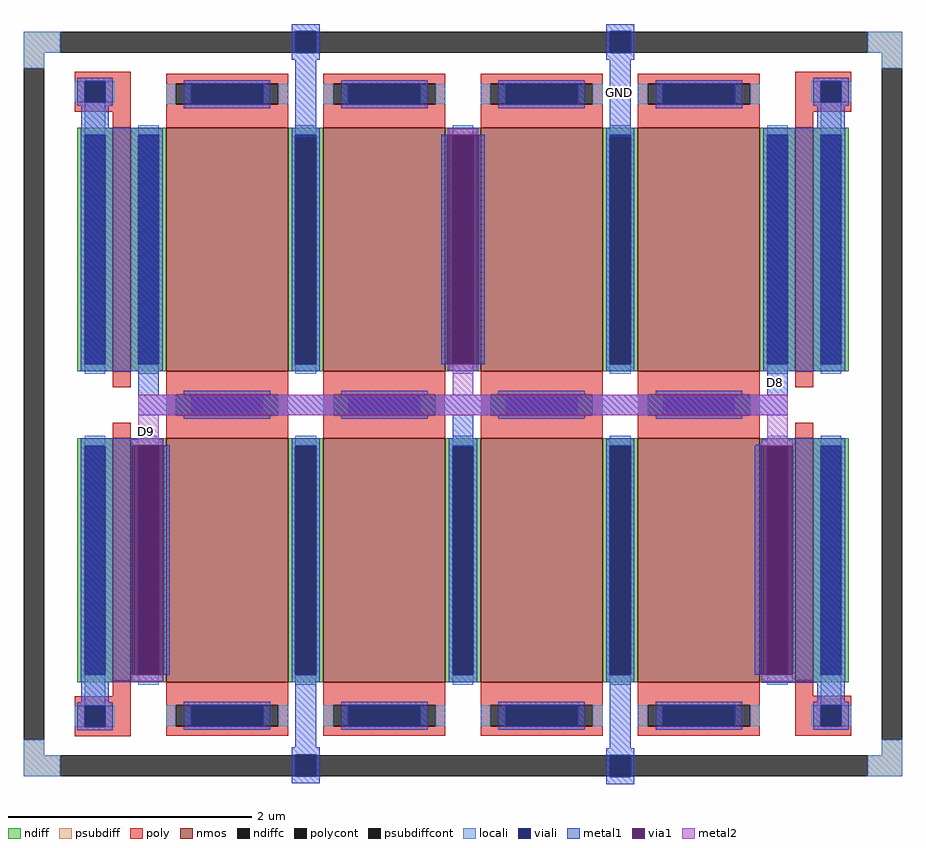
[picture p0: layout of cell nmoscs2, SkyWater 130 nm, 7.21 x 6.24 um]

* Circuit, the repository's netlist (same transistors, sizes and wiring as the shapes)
* NGSPICE file created from nmoscs2.ext - technology: sky130A

.subckt sky130_fd_pr__nfet_01v8_U7AA6P a_n287_n200# a_229_n200# a_29_n288# a_n29_n200#
+ a_n229_n288# VSUBS
X0 a_n29_n200# a_n229_n288# a_n287_n200# VSUBS sky130_fd_pr__nfet_01v8 ad=0.29 pd=2.29 as=0.58 ps=4.58 w=2 l=1
X1 a_229_n200# a_29_n288# a_n29_n200# VSUBS sky130_fd_pr__nfet_01v8 ad=0.58 pd=4.58 as=0.29 ps=2.29 w=2 l=1
.ends

.subckt sky130_fd_pr__nfet_01v8_TC9PLT a_15_n200# a_n15_n226# a_n73_n200# VSUBS
X0 a_15_n200# a_n15_n226# a_n73_n200# VSUBS sky130_fd_pr__nfet_01v8 ad=0.58 pd=4.58 as=0.58 ps=4.58 w=2 l=0.15
.ends

.subckt nmoscs2 GND D8 D9
Xsky130_fd_pr__nfet_01v8_U7AA6P_2 D9 D8 D8 GND D8 GND sky130_fd_pr__nfet_01v8_U7AA6P
Xsky130_fd_pr__nfet_01v8_U7AA6P_3 D9 D8 D8 GND D8 GND sky130_fd_pr__nfet_01v8_U7AA6P
Xsky130_fd_pr__nfet_01v8_TC9PLT_0 D8 D8 D8 GND sky130_fd_pr__nfet_01v8_TC9PLT
Xsky130_fd_pr__nfet_01v8_TC9PLT_1 D8 D8 D8 GND sky130_fd_pr__nfet_01v8_TC9PLT
Xsky130_fd_pr__nfet_01v8_TC9PLT_2 D9 D9 D9 GND sky130_fd_pr__nfet_01v8_TC9PLT
Xsky130_fd_pr__nfet_01v8_TC9PLT_3 D9 D9 D9 GND sky130_fd_pr__nfet_01v8_TC9PLT
Xsky130_fd_pr__nfet_01v8_U7AA6P_0 D8 D9 D8 GND D8 GND sky130_fd_pr__nfet_01v8_U7AA6P
Xsky130_fd_pr__nfet_01v8_U7AA6P_1 D8 D9 D8 GND D8 GND sky130_fd_pr__nfet_01v8_U7AA6P
.ends

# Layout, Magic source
magic
tech sky130A
magscale 1 2
<< psubdiff >>
rect -176 611 -116 645
rect 1209 611 1266 645
rect -176 585 -142 611
rect 1232 585 1266 611
rect -176 -542 -142 -516
rect 1232 -542 1266 -516
rect -176 -576 -116 -542
rect 1209 -576 1266 -542
<< psubdiffcont >>
rect -116 611 1209 645
rect -176 -516 -142 585
rect 1232 -516 1266 585
rect -116 -576 1209 -542
<< poly >>
rect -92 564 0 580
rect -92 530 -76 564
rect -42 530 0 564
rect -92 514 0 530
rect -30 488 0 514
rect 1090 564 1182 580
rect 1090 530 1132 564
rect 1166 530 1182 564
rect 1090 514 1182 530
rect 1090 504 1120 514
rect -30 -445 0 -419
rect -92 -461 0 -445
rect -92 -495 -76 -461
rect -42 -495 0 -461
rect -92 -511 0 -495
rect 1090 -444 1120 -418
rect 1090 -460 1182 -444
rect 1090 -494 1132 -460
rect 1166 -494 1182 -460
rect 1090 -510 1182 -494
<< polycont >>
rect -76 530 -42 564
rect 1132 530 1166 564
rect -76 -495 -42 -461
rect 1132 -494 1166 -460
<< locali >>
rect -176 611 -116 645
rect 1209 611 1266 645
rect -176 585 -142 611
rect 1232 585 1266 611
rect -92 530 -76 564
rect -42 530 -26 564
rect 1116 530 1132 564
rect 1166 530 1182 564
rect -76 488 -42 530
rect 1132 488 1166 530
rect -76 -461 -42 -419
rect 1132 -460 1166 -418
rect -92 -495 -76 -461
rect -42 -495 -26 -461
rect 1116 -494 1132 -460
rect 1166 -494 1182 -460
rect -176 -542 -142 -516
rect 1232 -542 1266 -516
rect -176 -576 -116 -542
rect 1209 -576 1266 -542
<< viali >>
rect 270 645 304 646
rect 786 645 820 646
rect 270 611 304 645
rect 786 611 820 645
rect -76 530 -42 564
rect 1132 530 1166 564
rect -76 -495 -42 -461
rect 1132 -494 1166 -460
rect 270 -542 304 -541
rect 270 -576 304 -542
rect 786 -576 820 -542
rect 786 -577 820 -576
<< metal1 >>
rect 264 646 310 658
rect 264 611 270 646
rect 304 611 310 646
rect 264 599 310 611
rect 780 646 826 658
rect 780 611 786 646
rect 820 611 826 646
rect 780 599 826 611
rect -88 564 -30 570
rect -88 530 -76 564
rect -42 530 -30 564
rect -88 524 -30 530
rect -81 488 -36 524
rect -82 88 51 488
rect 270 472 304 599
rect 509 100 519 476
rect 571 100 581 476
rect 786 473 820 599
rect 1120 564 1178 570
rect 1120 530 1132 564
rect 1166 530 1178 564
rect 1120 524 1178 530
rect 1126 488 1171 524
rect 1038 88 1171 488
rect 12 50 46 88
rect 1044 50 1078 88
rect 12 16 1078 50
rect -82 -33 51 -22
rect -82 -410 2 -33
rect 54 -410 64 -33
rect 528 -36 562 16
rect 1038 -23 1171 -22
rect 1035 -32 1171 -23
rect 1025 -34 1171 -32
rect 1024 -410 1034 -34
rect 1086 -410 1171 -34
rect -82 -422 51 -410
rect -81 -455 -36 -422
rect -88 -461 -30 -455
rect -88 -495 -76 -461
rect -42 -495 -30 -461
rect -88 -501 -30 -495
rect 270 -529 304 -415
rect 264 -541 310 -529
rect 786 -530 820 -416
rect 1035 -423 1171 -410
rect 1126 -454 1171 -423
rect 1120 -460 1178 -454
rect 1120 -494 1132 -460
rect 1166 -494 1178 -460
rect 1120 -500 1178 -494
rect 264 -576 270 -541
rect 304 -576 310 -541
rect 264 -588 310 -576
rect 780 -542 826 -530
rect 780 -577 786 -542
rect 820 -577 826 -542
rect 780 -589 826 -577
<< via1 >>
rect 519 100 571 476
rect 2 -410 54 -33
rect 1034 -410 1086 -34
<< metal2 >>
rect 519 476 571 486
rect 519 90 571 100
rect 528 50 562 90
rect 12 16 1078 50
rect 12 -23 46 16
rect 2 -33 54 -23
rect 1044 -24 1078 16
rect 2 -420 54 -410
rect 1034 -34 1086 -24
rect 1034 -420 1086 -410
use sky130_fd_pr__nfet_01v8_TC9PLT  sky130_fd_pr__nfet_01v8_TC9PLT_0
transform 1 0 1105 0 1 288
box -73 -226 73 226
use sky130_fd_pr__nfet_01v8_TC9PLT  sky130_fd_pr__nfet_01v8_TC9PLT_1
transform 1 0 -15 0 1 288
box -73 -226 73 226
use sky130_fd_pr__nfet_01v8_TC9PLT  sky130_fd_pr__nfet_01v8_TC9PLT_2
transform 1 0 -15 0 1 -222
box -73 -226 73 226
use sky130_fd_pr__nfet_01v8_TC9PLT  sky130_fd_pr__nfet_01v8_TC9PLT_3
transform 1 0 1105 0 1 -222
box -73 -226 73 226
use sky130_fd_pr__nfet_01v8_U7AA6P  sky130_fd_pr__nfet_01v8_U7AA6P_0
transform 1 0 803 0 1 -222
box -287 -288 287 288
use sky130_fd_pr__nfet_01v8_U7AA6P  sky130_fd_pr__nfet_01v8_U7AA6P_1
transform 1 0 287 0 1 288
box -287 -288 287 288
use sky130_fd_pr__nfet_01v8_U7AA6P  sky130_fd_pr__nfet_01v8_U7AA6P_2
transform 1 0 803 0 1 288
box -287 -288 287 288
use sky130_fd_pr__nfet_01v8_U7AA6P  sky130_fd_pr__nfet_01v8_U7AA6P_3
transform 1 0 287 0 1 -222
box -287 -288 287 288
<< labels >>
flabel metal1 801 546 801 546 0 FreeSans 800 0 0 0 GND
port 0 nsew
flabel metal1 1057 70 1057 70 0 FreeSans 800 0 0 0 D8
port 1 nsew
flabel metal2 26 -10 26 -10 0 FreeSans 800 0 0 0 D9
port 2 nsew
<< end >>

# cell sky130_fd_pr__nfet_01v8_TC9PLT: kit device sky130_fd_pr__nfet_01v8, w 2 l 0.150 m 1 nf 1 diffcov 100 polycov 100 guard 0 glc 1 grc 1 gtc 1 gbc 1 tbcov 100 rlcov 100 topc 0 botc 0 poverlap 0 doverlap 1 lmin 0.15 wmin 0.42 compatible {sky130_fd_pr__nfet_01v8 sky130_fd_pr__nfet_01v8_lvt sky130_fd_bs_flash__special_sonosfet_star sky130_fd_pr__nfet_g5v0d10v5 sky130_fd_pr__nfet_05v0_nvt sky130_fd_pr__nfet_03v3_nvt} full_metal 1 viasrc 100 viadrn 100 viagate 100 viagb 0 viagr 0 viagl 0 viagt 0

# cell sky130_fd_pr__nfet_01v8_U7AA6P: kit device sky130_fd_pr__nfet_01v8, w 2 l 1 m 1 nf 2 diffcov 100 polycov 100 guard 0 glc 1 grc 1 gtc 1 gbc 1 tbcov 100 rlcov 100 topc 1 botc 1 poverlap 0 doverlap 1 lmin 0.15 wmin 0.42 compatible {sky130_fd_pr__nfet_01v8 sky130_fd_pr__nfet_01v8_lvt sky130_fd_bs_flash__special_sonosfet_star sky130_fd_pr__nfet_g5v0d10v5 sky130_fd_pr__nfet_05v0_nvt sky130_fd_pr__nfet_03v3_nvt} full_metal 1 viasrc 100 viadrn 100 viagate 70 viagb 0 viagr 0 viagl 0 viagt 0
